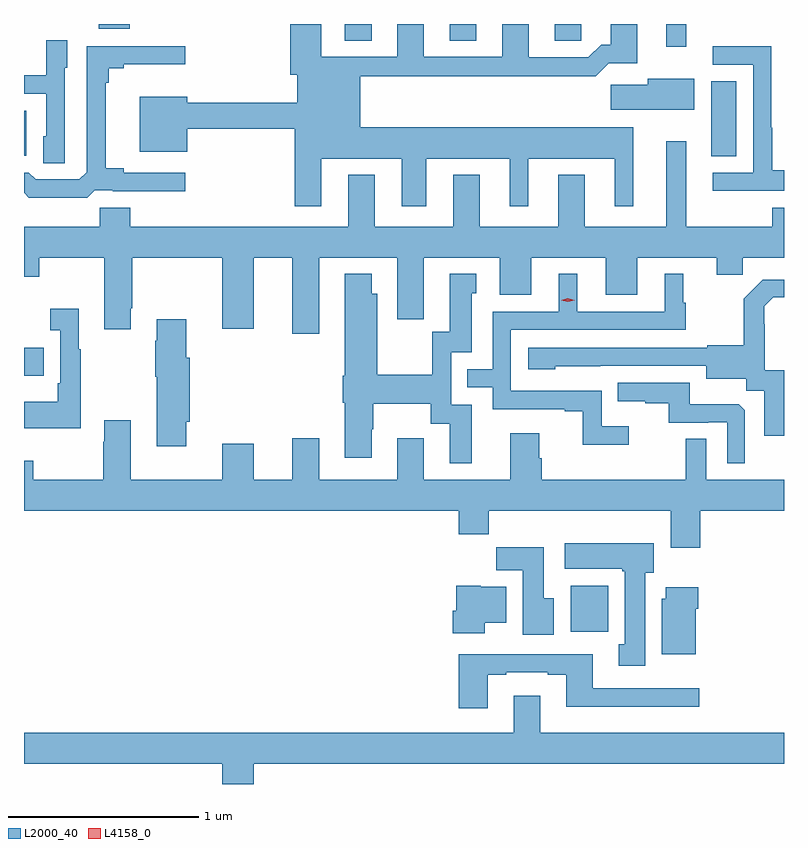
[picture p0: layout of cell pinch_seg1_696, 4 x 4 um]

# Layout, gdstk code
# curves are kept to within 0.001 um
import gdstk
lib = gdstk.Library(unit=1e-6, precision=1e-09)
def R(c, l, rs):  # rectangles x0, y0, x1, y1
    for r in rs: c.add(gdstk.rectangle(r[:2], r[2:], *l))
def P(c, l, *ps):  # polygons
    for p in ps: c.add(gdstk.Polygon(p, *l))
L2000_40 = (2000, 40)
L4158_0 = (4158, 0)

pinch_seg1_696 = lib.new_cell('pinch_seg1_696')
R(pinch_seg1_696, L2000_40, [(754.253,571.076,754.45,571.318), (751.376,572.423,751.481,572.571), (754.994,573.577,755.125,573.974), (751.376,573.581,751.387,573.817), (754.757,574.155,754.861,574.274), (753.065,574.186,753.205,574.274), (753.617,574.186,753.757,574.274), (754.169,574.186,754.308,574.274), (751.769,574.248,751.933,574.274)])
P(pinch_seg1_696, L2000_40, [(752.941,573.566),(753.365,573.566),(753.365,573.315),(753.493,573.315),(753.493,573.566),(753.932,573.566),(753.932,573.315),(754.03,573.315),(754.03,573.566),(754.484,573.566),(754.484,573.315),(754.582,573.315),(754.582,573.73),(753.145,573.73),(753.145,574),(754.129,574),(754.129,573.998),(754.385,573.998),(754.454,574.067),(754.603,574.067),(754.603,574.274),(754.463,574.274),(754.463,574.165),(754.414,574.165),(754.347,574.098),(754.033,574.098),(754.033,574.274),(753.893,574.274),(753.893,574.101),(753.481,574.101),(753.481,574.274),(753.341,574.274),(753.341,574.101),(752.941,574.101),(752.941,574.274),(752.777,574.274),(752.777,574.008),(752.813,574.008),(752.813,573.86),(752.236,573.86),(752.236,573.892),(751.985,573.892),(751.985,573.602),(752.236,573.602),(752.236,573.724),(752.801,573.724),(752.801,573.315),(752.941,573.315)],
  [(751.59,574.044),(751.603,574.044),(751.603,574.189),(751.494,574.189),(751.494,574.003),(751.376,574.003),(751.376,573.906),(751.494,573.906),(751.494,573.684),(751.478,573.684),(751.478,573.541),(751.59,573.541)],
  [(751.749,573.399),(751.843,573.399),(751.843,573.395),(752.224,573.395),(752.224,573.492),(751.9,573.492),(751.9,573.515),(751.805,573.515),(751.805,573.965),(751.823,573.965),(751.823,574.042),(751.9,574.042),(751.9,574.061),(752.224,574.061),(752.224,574.158),(751.707,574.158),(751.707,573.495),(751.668,573.456),(751.437,573.456),(751.401,573.492),(751.376,573.492),(751.376,573.385),(751.402,573.36),(751.709,573.36)],
  [(755.376,573.505),(755.313,573.505),(755.313,573.728),(755.31,573.728),(755.31,574.158),(755.001,574.158),(755.001,574.059),(755.214,574.059),(755.214,573.492),(755.001,573.492),(755.001,573.396),(755.376,573.396)],
  [(754.903,573.985),(754.658,573.985),(754.658,573.953),(754.464,573.953),(754.464,573.824),(754.903,573.824)],
  [(751.934,573.306),(751.774,573.306),(751.774,573.208),(751.376,573.208),(751.376,572.945),(751.455,572.945),(751.455,573.044),(751.799,573.044),(751.799,572.667),(751.939,572.667),(751.939,572.779),(751.947,572.779),(751.947,573.044),(752.42,573.044),(752.42,572.67),(752.584,572.67),(752.584,573.044),(752.789,573.044),(752.789,572.643),(752.929,572.643),(752.929,573.044),(753.341,573.044),(753.341,572.721),(753.479,572.721),(753.479,572.833),(753.481,572.833),(753.481,573.044),(753.881,573.044),(753.881,572.85),(754.045,572.85),(754.045,573.044),(754.439,573.044),(754.439,572.85),(754.603,572.85),(754.603,573.044),(755.021,573.044),(755.021,572.954),(755.159,572.954),(755.159,573.044),(755.376,573.044),(755.376,573.307),(755.314,573.307),(755.314,573.208),(754.861,573.208),(754.861,573.658),(754.757,573.658),(754.757,573.208),(754.327,573.208),(754.327,573.481),(754.187,573.481),(754.187,573.208),(753.775,573.208),(753.775,573.481),(753.635,573.481),(753.635,573.208),(753.223,573.208),(753.223,573.481),(753.083,573.481),(753.083,573.208),(751.934,573.208)],
  [(753.733,572.271),(753.624,572.271),(753.624,572.547),(753.733,572.547),(753.733,572.856),(753.757,572.856),(753.757,572.959),(753.617,572.959),(753.617,572.653),(753.525,572.653),(753.525,572.428),(753.235,572.428),(753.235,572.854),(753.205,572.854),(753.205,572.959),(753.065,572.959),(753.065,572.424),(753.053,572.424),(753.053,572.28),(753.065,572.28),(753.065,571.992),(753.205,571.992),(753.205,572.142),(753.213,572.142),(753.213,572.276),(753.516,572.276),(753.516,572.17),(753.617,572.17),(753.617,571.962),(753.733,571.962)],
  [(754.558,572.158),(754.416,572.158),(754.416,572.343),(753.939,572.343),(753.939,572.664),(754.858,572.664),(754.858,572.808),(754.846,572.808),(754.846,572.959),(754.748,572.959),(754.748,572.76),(754.288,572.76),(754.288,572.959),(754.19,572.959),(754.19,572.76),(753.843,572.76),(753.843,572.457),(753.709,572.457),(753.709,572.361),(753.843,572.361),(753.843,572.247),(754.223,572.247),(754.223,572.235),(754.318,572.235),(754.318,572.06),(754.558,572.06)],
  [(755.376,572.452),(755.274,572.452),(755.274,572.693),(755.272,572.693),(755.272,572.788),(755.319,572.835),(755.376,572.835),(755.376,572.929),(755.263,572.929),(755.163,572.829),(755.163,572.584),(754.971,572.584),(754.971,572.571),(754.029,572.571),(754.029,572.456),(754.173,572.456),(754.173,572.474),(754.967,572.475),(754.967,572.408),(755.178,572.408),(755.178,572.344),(755.273,572.344),(755.273,572.106),(755.376,572.106)],
  [(751.675,572.563),(751.663,572.563),(751.663,572.776),(751.515,572.776),(751.515,572.663),(751.566,572.663),(751.566,572.383),(751.554,572.383),(751.554,572.287),(751.376,572.287),(751.376,572.147),(751.675,572.147)],
  [(752.23,572.181),(752.248,572.181),(752.248,572.517),(752.23,572.517),(752.23,572.719),(752.075,572.719),(752.075,572.606),(752.068,572.606),(752.068,572.417),(752.075,572.417),(752.075,572.052),(752.23,572.052)],
  [(755.169,572.241),(755.137,572.273),(754.879,572.273),(754.879,572.385),(754.501,572.385),(754.501,572.288),(754.645,572.288),(754.645,572.277),(754.769,572.277),(754.769,572.175),(754.976,572.175),(754.976,572.178),(755.076,572.178),(755.076,571.961),(755.169,571.961)],
  [(753.665,571.588),(753.821,571.588),(753.821,571.712),(754.781,571.712),(754.781,571.518),(754.934,571.518),(754.934,571.712),(755.376,571.712),(755.376,571.876),(754.968,571.876),(754.968,572.09),(754.86,572.09),(754.86,571.876),(754.1,571.876),(754.1,571.989),(754.087,571.989),(754.087,572.119),(753.935,572.119),(753.935,571.876),(753.481,571.876),(753.481,572.095),(753.341,572.095),(753.341,571.876),(752.929,571.876),(752.929,572.095),(752.789,572.095),(752.789,571.876),(752.584,571.876),(752.584,572.065),(752.42,572.065),(752.42,571.876),(751.939,571.876),(751.939,572.188),(751.799,572.188),(751.799,572.075),(751.792,572.075),(751.792,571.876),(751.425,571.876),(751.425,571.975),(751.376,571.975),(751.376,571.712),(753.665,571.712)],
  [(754.645,571.386),(754.69,571.386),(754.69,571.54),(754.221,571.54),(754.221,571.406),(754.525,571.406),(754.525,571.393),(754.538,571.393),(754.538,571.01),(754.505,571.01),(754.505,570.897),(754.645,570.897)],
  [(754.165,571.252),(754.111,571.252),(754.111,571.519),(753.862,571.519),(753.862,571.4),(754.001,571.4),(754.001,571.059),(754.165,571.059)],
  [(753.802,571.124),(753.913,571.124),(753.913,571.312),(753.78,571.312),(753.78,571.318),(753.65,571.318),(753.65,571.185),(753.632,571.185),(753.632,571.067),(753.802,571.067)],
  [(754.912,571.196),(754.925,571.196),(754.925,571.309),(754.754,571.309),(754.754,571.248),(754.733,571.248),(754.733,570.956),(754.912,570.956)],
  [(753.817,570.849),(753.913,570.849),(753.913,570.861),(754.133,570.861),(754.133,570.849),(754.229,570.849),(754.229,570.68),(754.93,570.68),(754.93,570.777),(754.369,570.777),(754.369,570.957),(753.665,570.957),(753.665,570.672),(753.817,570.672)],
  [(752.584,570.38),(755.376,570.38),(755.376,570.544),(754.093,570.544),(754.093,570.739),(753.953,570.739),(753.953,570.544),(751.376,570.544),(751.376,570.38),(752.42,570.38),(752.42,570.274),(752.584,570.274)])
P(pinch_seg1_696, L4158_0, [(754.239,572.811),(754.203,572.82),(754.203,572.821),(754.203,572.821),(754.239,572.831),(754.275,572.821),(754.275,572.821),(754.275,572.82)])

lib.write_gds('pinch_seg1_696.gds')
